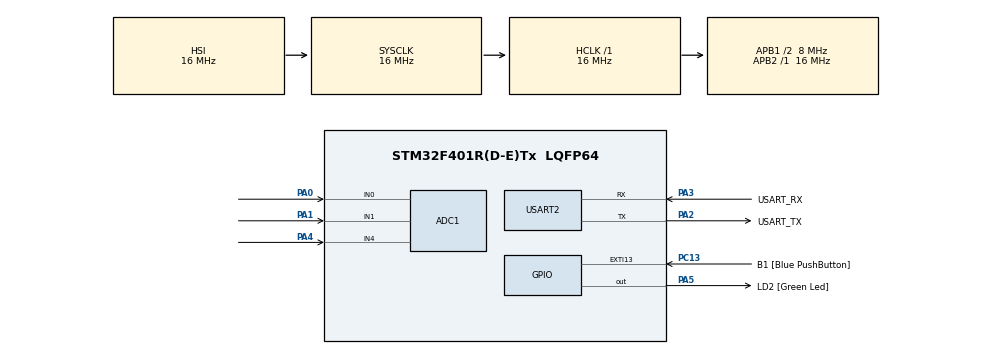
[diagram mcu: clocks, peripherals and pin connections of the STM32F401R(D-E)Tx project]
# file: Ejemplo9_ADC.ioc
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ADC1.Channel-0\#ChannelRegularConversion=ADC_CHANNEL_0
ADC1.NbrOfConversionFlag=1
ADC1.Rank-0\#ChannelRegularConversion=1
ADC1.SamplingTime-0\#ChannelRegularConversion=ADC_SAMPLETIME_3CYCLES
ADC1.master=1
Mcu.Family=STM32F4
Mcu.Name=STM32F401R(D-E)Tx
Mcu.Package=LQFP64
NVIC.PriorityGroup=NVIC_PRIORITYGROUP_0
PA0-WKUP.Signal=ADCx_IN0
PA1.Signal=ADCx_IN1
PA13.GPIO_Label=TMS
PA13.Mode=Serial_Wire
PA13.Signal=SYS_JTMS-SWDIO
PA14.GPIO_Label=TCK
PA14.Mode=Serial_Wire
PA14.Signal=SYS_JTCK-SWCLK
PA2.GPIO_Label=USART_TX
PA2.GPIO_Mode=GPIO_MODE_AF_PP
PA2.GPIO_PuPd=GPIO_NOPULL
PA2.GPIO_Speed=GPIO_SPEED_FREQ_LOW
PA2.Mode=Asynchronous
PA2.Signal=USART2_TX
PA3.GPIO_Label=USART_RX
PA3.GPIO_Mode=GPIO_MODE_AF_PP
PA3.GPIO_PuPd=GPIO_NOPULL
PA3.GPIO_Speed=GPIO_SPEED_FREQ_LOW
PA3.Mode=Asynchronous
PA3.Signal=USART2_RX
PA4.Signal=ADCx_IN4
PA5.GPIO_Label=LD2 [Green Led]
PA5.GPIO_Mode=GPIO_MODE_OUTPUT_PP
PA5.GPIO_PuPd=GPIO_NOPULL
PA5.GPIO_Speed=GPIO_SPEED_FREQ_LOW
PA5.Signal=GPIO_Output
PB3.GPIO_Label=SWO
PB3.Signal=SYS_JTDO-SWO
PC13-ANTI_TAMP.GPIO_Label=B1 [Blue PushButton]
PC13-ANTI_TAMP.GPIO_ModeDefaultEXTI=GPIO_MODE_IT_FALLING
PC13-ANTI_TAMP.GPIO_PuPd=GPIO_NOPULL
PC13-ANTI_TAMP.Signal=GPXTI13
PC14-OSC32_IN.Mode=LSE-External-Oscillator
PC14-OSC32_IN.Signal=RCC_OSC32_IN
PC15-OSC32_OUT.Mode=LSE-External-Oscillator
PC15-OSC32_OUT.Signal=RCC_OSC32_OUT
PH0\ -\ OSC_IN.Mode=HSE-External-Clock-Source
PH0\ -\ OSC_IN.Signal=RCC_OSC_IN
PH1\ -\ OSC_OUT.Mode=HSE-External-Clock-Source
PH1\ -\ OSC_OUT.Signal=RCC_OSC_OUT
ProjectManager.HeapSize=0x200
ProjectManager.StackSize=0x400
ProjectManager.TargetToolchain=STM32CubeIDE
RCC.48MHZClocksFreq_Value=96000000
RCC.AHBFreq_Value=16000000
RCC.APB1CLKDivider=RCC_HCLK_DIV2
RCC.APB1Freq_Value=8000000
RCC.APB1TimFreq_Value=16000000
RCC.APB2Freq_Value=16000000
RCC.APB2TimFreq_Value=16000000
RCC.CortexFreq_Value=16000000
RCC.HCLKFreq_Value=16000000
RCC.HSE_VALUE=8000000
RCC.HSI_VALUE=16000000
RCC.PLLM=4
RCC.PLLN=336
RCC.PLLP=RCC_PLLP_DIV4
RCC.PLLQ=7
RCC.PLLSourceVirtual=RCC_PLLSOURCE_HSE
RCC.SYSCLKFreq_VALUE=16000000
RCC.VCOOutputFreq_Value=672000000
SH.ADCx_IN0.0=ADC1_IN0,IN0
SH.ADCx_IN1.0=ADC1_IN1,IN1
SH.ADCx_IN4.0=ADC1_IN4,IN4
USART2.VirtualMode=VM_ASYNC
board=NUCLEO-F401RE

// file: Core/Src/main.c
/* USER CODE BEGIN Header */
/**
  ******************************************************************************
  * @file           : main.c
  * @brief          : Main program body
  ******************************************************************************
  * @attention
  *
  * Copyright (c) 2023 STMicroelectronics.
  * All rights reserved.
  *
  * This software is licensed under terms that can be found in the LICENSE file
  * in the root directory of this software component.
  * If no LICENSE file comes with this software, it is provided AS-IS.
  *
  ******************************************************************************
  */
/* USER CODE END Header */
#include "main.h"

/* USER CODE BEGIN Includes */
#include <stdio.h>
/* USER CODE END Includes */

ADC_HandleTypeDef hadc1;

UART_HandleTypeDef huart2;

void SystemClock_Config(void);
static void MX_GPIO_Init(void);
static void MX_USART2_UART_Init(void);
static void MX_ADC1_Init(void);

/* USER CODE BEGIN 0 */
int __io_putchar(int ch)
{
	HAL_UART_Transmit(&huart2, (uint8_t *)&ch,1, HAL_MAX_DELAY);
	//HAL_UART_Transmit(&huart1, (uint8_t *)&ch,1, HAL_MAX_DELAY);
	return ch;
}
uint32_t adc0,adc1,adc4;

uint32_t adc_read(uint32_t canal){
uint32_t ADCValue;
ADC_ChannelConfTypeDef sConfig;
sConfig.Channel = canal;
sConfig.Rank = 1;
sConfig.SamplingTime = ADC_SAMPLETIME_3CYCLES;
HAL_ADC_ConfigChannel(&hadc1, &sConfig);
HAL_ADC_Start(&hadc1);
if (HAL_ADC_PollForConversion(&hadc1, 1000000) == HAL_OK){
ADCValue = HAL_ADC_GetValue(&hadc1);
}
return ADCValue;
}

/* USER CODE END 0 */

int main(void)
{

  /* MCU Configuration--------------------------------------------------------*/

  /* Reset of all peripherals, Initializes the Flash interface and the Systick. */
  HAL_Init();

  /* Configure the system clock */
  SystemClock_Config();

  /* Initialize all configured peripherals */
  MX_GPIO_Init();
  MX_USART2_UART_Init();
  MX_ADC1_Init();

  /* Infinite loop */
  /* USER CODE BEGIN WHILE */
  while (1)
  {
	  adc0=adc_read(ADC_CHANNEL_0);
	  adc1=adc_read(ADC_CHANNEL_1);
	  adc4=adc_read(ADC_CHANNEL_4);
	 printf("\n\r\n\r\n\r\n\r");
	 printf("adc0 valor es:%u - V :%0.3f\n\r",adc0,adc0*3.3/4095.0);
	 printf("adc1 valor es:%u - V :%0.3f\n\r",adc1,adc1*3.3/4095.0);
	 printf("adc2 valor es:%u - V :%0.3f\n\r",adc4,adc4*3.3/4095.0);
	 HAL_Delay(1000);
    /* USER CODE END WHILE */

  }
}

void SystemClock_Config(void)
{
  RCC_OscInitTypeDef RCC_OscInitStruct = {0};
  RCC_ClkInitTypeDef RCC_ClkInitStruct = {0};

  /** Configure the main internal regulator output voltage
  */
  __HAL_RCC_PWR_CLK_ENABLE();
  __HAL_PWR_VOLTAGESCALING_CONFIG(PWR_REGULATOR_VOLTAGE_SCALE2);

  /** Initializes the RCC Oscillators according to the specified parameters
  * in the RCC_OscInitTypeDef structure.
  */
  RCC_OscInitStruct.OscillatorType = RCC_OSCILLATORTYPE_HSI;
  RCC_OscInitStruct.HSIState = RCC_HSI_ON;
  RCC_OscInitStruct.HSICalibrationValue = RCC_HSICALIBRATION_DEFAULT;
  RCC_OscInitStruct.PLL.PLLState = RCC_PLL_NONE;
  if (HAL_RCC_OscConfig(&RCC_OscInitStruct) != HAL_OK)
  {
    Error_Handler();
  }

  /** Initializes the CPU, AHB and APB buses clocks
  */
  RCC_ClkInitStruct.ClockType = RCC_CLOCKTYPE_HCLK|RCC_CLOCKTYPE_SYSCLK
                              |RCC_CLOCKTYPE_PCLK1|RCC_CLOCKTYPE_PCLK2;
  RCC_ClkInitStruct.SYSCLKSource = RCC_SYSCLKSOURCE_HSI;
  RCC_ClkInitStruct.AHBCLKDivider = RCC_SYSCLK_DIV1;
  RCC_ClkInitStruct.APB1CLKDivider = RCC_HCLK_DIV2;
  RCC_ClkInitStruct.APB2CLKDivider = RCC_HCLK_DIV1;

  if (HAL_RCC_ClockConfig(&RCC_ClkInitStruct, FLASH_LATENCY_0) != HAL_OK)
  {
    Error_Handler();
  }
}

static void MX_ADC1_Init(void)
{

  ADC_ChannelConfTypeDef sConfig = {0};

  /** Configure the global features of the ADC (Clock, Resolution, Data Alignment and number of conversion)
  */
  hadc1.Instance = ADC1;
  hadc1.Init.ClockPrescaler = ADC_CLOCK_SYNC_PCLK_DIV2;
  hadc1.Init.Resolution = ADC_RESOLUTION_12B;
  hadc1.Init.ScanConvMode = DISABLE;
  hadc1.Init.ContinuousConvMode = DISABLE;
  hadc1.Init.DiscontinuousConvMode = DISABLE;
  hadc1.Init.ExternalTrigConvEdge = ADC_EXTERNALTRIGCONVEDGE_NONE;
  hadc1.Init.ExternalTrigConv = ADC_SOFTWARE_START;
  hadc1.Init.DataAlign = ADC_DATAALIGN_RIGHT;
  hadc1.Init.NbrOfConversion = 1;
  hadc1.Init.DMAContinuousRequests = DISABLE;
  hadc1.Init.EOCSelection = ADC_EOC_SINGLE_CONV;
  if (HAL_ADC_Init(&hadc1) != HAL_OK)
  {
    Error_Handler();
  }

  /** Configure for the selected ADC regular channel its corresponding rank in the sequencer and its sample time.
  */
  sConfig.Channel = ADC_CHANNEL_0;
  sConfig.Rank = 1;
  sConfig.SamplingTime = ADC_SAMPLETIME_3CYCLES;
  if (HAL_ADC_ConfigChannel(&hadc1, &sConfig) != HAL_OK)
  {
    Error_Handler();
  }

}

static void MX_USART2_UART_Init(void)
{

  huart2.Instance = USART2;
  huart2.Init.BaudRate = 115200;
  huart2.Init.WordLength = UART_WORDLENGTH_8B;
  huart2.Init.StopBits = UART_STOPBITS_1;
  huart2.Init.Parity = UART_PARITY_NONE;
  huart2.Init.Mode = UART_MODE_TX_RX;
  huart2.Init.HwFlowCtl = UART_HWCONTROL_NONE;
  huart2.Init.OverSampling = UART_OVERSAMPLING_16;
  if (HAL_UART_Init(&huart2) != HAL_OK)
  {
    Error_Handler();
  }

}

static void MX_GPIO_Init(void)
{
  GPIO_InitTypeDef GPIO_InitStruct = {0};

  /* GPIO Ports Clock Enable */
  __HAL_RCC_GPIOC_CLK_ENABLE();
  __HAL_RCC_GPIOH_CLK_ENABLE();
  __HAL_RCC_GPIOA_CLK_ENABLE();
  __HAL_RCC_GPIOB_CLK_ENABLE();

  /*Configure GPIO pin Output Level */
  HAL_GPIO_WritePin(LD2_GPIO_Port, LD2_Pin, GPIO_PIN_RESET);

  /*Configure GPIO pin : B1_Pin */
  GPIO_InitStruct.Pin = B1_Pin;
  GPIO_InitStruct.Mode = GPIO_MODE_IT_FALLING;
  GPIO_InitStruct.Pull = GPIO_NOPULL;
  HAL_GPIO_Init(B1_GPIO_Port, &GPIO_InitStruct);

  /*Configure GPIO pin : LD2_Pin */
  GPIO_InitStruct.Pin = LD2_Pin;
  GPIO_InitStruct.Mode = GPIO_MODE_OUTPUT_PP;
  GPIO_InitStruct.Pull = GPIO_NOPULL;
  GPIO_InitStruct.Speed = GPIO_SPEED_FREQ_LOW;
  HAL_GPIO_Init(LD2_GPIO_Port, &GPIO_InitStruct);

}

void Error_Handler(void)
{
  __disable_irq();
  while (1)
  {
  }
}
